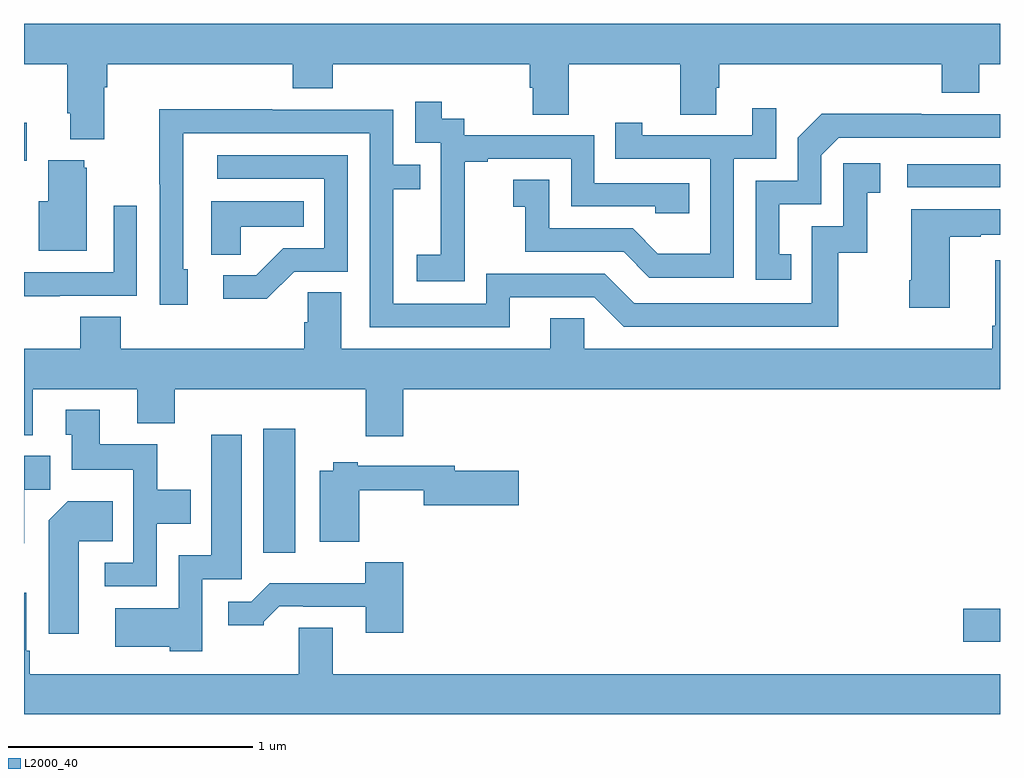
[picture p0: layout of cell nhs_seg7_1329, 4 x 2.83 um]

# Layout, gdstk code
import gdstk
lib = gdstk.Library(unit=1e-6, precision=1e-09)
def R(c, l, rs):  # rectangles x0, y0, x1, y1
    for r in rs: c.add(gdstk.rectangle(r[:2], r[2:], *l))
def P(c, l, *ps):  # polygons
    for p in ps: c.add(gdstk.Polygon(p, *l))
L2000_40 = (2000, 40)

nhs_seg7_1329 = lib.new_cell('nhs_seg7_1329')
R(nhs_seg7_1329, L2000_40, [(206.85,1020.893,207,1021.028), (203.981,1021.257,204.112,1021.765), (206.619,1022.754,207,1022.85), (203,1022.863,203.011,1023.019)])
P(nhs_seg7_1329, L2000_40, [(203.329,1023.164),(203.342,1023.164),(203.342,1023.26),(204.101,1023.26),(204.101,1023.161),(204.266,1023.161),(204.266,1023.26),(205.073,1023.26),(205.073,1023.162),(205.085,1023.162),(205.085,1023.052),(205.233,1023.052),(205.233,1023.26),(205.69,1023.26),(205.69,1023.052),(205.837,1023.052),(205.837,1023.162),(205.85,1023.162),(205.85,1023.26),(206.762,1023.26),(206.762,1023.143),(206.914,1023.143),(206.914,1023.26),(207,1023.26),(207,1023.424),(203,1023.424),(203,1023.26),(203.177,1023.26),(203.177,1023.058),(203.189,1023.058),(203.189,1022.951),(203.329,1022.951)],
  [(204.807,1022.575),(204.806,1022.575),(204.806,1022.859),(204.901,1022.859),(204.901,1022.871),(205.242,1022.871),(205.242,1022.676),(205.587,1022.676),(205.587,1022.649),(205.727,1022.649),(205.727,1022.772),(205.338,1022.772),(205.338,1022.967),(204.804,1022.967),(204.804,1023.036),(204.712,1023.036),(204.712,1023.106),(204.603,1023.106),(204.603,1022.937),(204.708,1022.937),(204.708,1022.708),(204.707,1022.708),(204.707,1022.479),(204.609,1022.479),(204.609,1022.369),(204.807,1022.369)],
  [(205.908,1022.871),(206.082,1022.871),(206.082,1023.079),(205.985,1023.079),(205.985,1022.967),(205.534,1022.967),(205.534,1023.019),(205.423,1023.019),(205.423,1022.871),(205.812,1022.871),(205.812,1022.482),(205.598,1022.482),(205.494,1022.586),(205.152,1022.586),(205.152,1022.785),(205.005,1022.785),(205.005,1022.675),(205.054,1022.675),(205.054,1022.49),(205.457,1022.49),(205.562,1022.385),(205.908,1022.385)],
  [(204.991,1022.304),(205.338,1022.304),(205.458,1022.184),(206.338,1022.184),(206.338,1022.487),(206.456,1022.487),(206.456,1022.733),(206.509,1022.733),(206.509,1022.854),(206.358,1022.854),(206.358,1022.595),(206.229,1022.595),(206.229,1022.28),(205.5,1022.28),(205.38,1022.4),(204.894,1022.4),(204.894,1022.277),(204.513,1022.277),(204.513,1022.746),(204.623,1022.746),(204.623,1022.847),(204.513,1022.847),(204.513,1023.072),(204.017,1023.072),(204.017,1023.074),(203.554,1023.074),(203.554,1022.767),(203.556,1022.767),(203.556,1022.274),(203.671,1022.274),(203.671,1022.418),(203.652,1022.418),(203.652,1022.976),(204.417,1022.976),(204.417,1022.181),(204.991,1022.181)],
  [(206.144,1022.481),(206.095,1022.481),(206.095,1022.685),(206.268,1022.685),(206.268,1022.886),(206.34,1022.958),(207,1022.958),(207,1023.054),(206.678,1023.054),(206.678,1023.056),(206.27,1023.056),(206.172,1022.958),(206.172,1022.781),(205.998,1022.781),(205.998,1022.376),(206.144,1022.376)],
  [(204.108,1022.409),(204.327,1022.409),(204.327,1022.886),(203.793,1022.886),(203.793,1022.79),(204.231,1022.79),(204.231,1022.505),(204.062,1022.505),(203.951,1022.394),(203.817,1022.394),(203.817,1022.297),(203.995,1022.297)],
  [(203.257,1022.835),(203.246,1022.835),(203.246,1022.866),(203.099,1022.866),(203.099,1022.698),(203.06,1022.698),(203.06,1022.495),(203.257,1022.495)],
  [(203.889,1022.594),(204.146,1022.594),(204.146,1022.698),(203.768,1022.698),(203.768,1022.479),(203.889,1022.479)],
  [(203.147,1022.31),(203.463,1022.31),(203.463,1022.68),(203.367,1022.68),(203.367,1022.406),(203,1022.406),(203,1022.309),(203.147,1022.309)],
  [(206.794,1022.551),(206.921,1022.551),(206.921,1022.561),(207,1022.561),(207,1022.665),(206.636,1022.665),(206.636,1022.374),(206.629,1022.374),(206.629,1022.262),(206.794,1022.262)],
  [(204.554,1021.928),(207,1021.928),(207,1022.455),(206.981,1022.455),(206.981,1022.188),(206.969,1022.188),(206.969,1022.092),(205.296,1022.092),(205.296,1022.219),(205.157,1022.219),(205.157,1022.092),(204.301,1022.092),(204.301,1022.324),(204.162,1022.324),(204.162,1022.201),(204.149,1022.201),(204.149,1022.092),(203.396,1022.092),(203.396,1022.225),(203.231,1022.225),(203.231,1022.092),(203,1022.092),(203,1021.739),(203.035,1021.739),(203.035,1021.928),(203.465,1021.928),(203.465,1021.787),(203.618,1021.787),(203.618,1021.928),(204.401,1021.928),(204.401,1021.734),(204.554,1021.734)],
  [(203.544,1021.376),(203.683,1021.376),(203.683,1021.516),(203.547,1021.516),(203.547,1021.702),(203.311,1021.702),(203.311,1021.843),(203.171,1021.843),(203.171,1021.74),(203.195,1021.74),(203.195,1021.598),(203.448,1021.598),(203.448,1021.215),(203.331,1021.215),(203.331,1021.119),(203.544,1021.119)],
  [(203.73,1021.149),(203.893,1021.149),(203.893,1021.741),(203.768,1021.741),(203.768,1021.246),(203.634,1021.246),(203.634,1021.03),(203.373,1021.03),(203.373,1020.872),(203.598,1020.872),(203.598,1020.854),(203.73,1020.854)],
  [(203.002,1021.516),(203.107,1021.516),(203.107,1021.654),(203,1021.654),(203,1021.295),(203.002,1021.295)],
  [(204.374,1021.513),(204.638,1021.513),(204.638,1021.451),(205.027,1021.451),(205.027,1021.593),(204.766,1021.593),(204.766,1021.614),(204.367,1021.614),(204.367,1021.627),(204.267,1021.627),(204.267,1021.594),(204.212,1021.594),(204.212,1021.301),(204.374,1021.301)],
  [(203.224,1021.304),(203.363,1021.304),(203.363,1021.468),(203.18,1021.468),(203.102,1021.39),(203.102,1020.924),(203.224,1020.924)],
  [(204.554,1021.219),(204.399,1021.219),(204.399,1021.132),(204.007,1021.132),(203.931,1021.056),(203.838,1021.056),(203.838,1020.959),(203.982,1020.959),(203.982,1020.974),(204.046,1021.038),(204.145,1021.038),(204.145,1021.035),(204.401,1021.035),(204.401,1020.93),(204.554,1020.93)],
  [(207,1020.76),(204.265,1020.76),(204.265,1020.95),(204.125,1020.95),(204.125,1020.76),(203.023,1020.76),(203.023,1020.856),(203.01,1020.856),(203.01,1021.093),(203,1021.093),(203,1020.596),(207,1020.596)])

lib.write_gds('nhs_seg7_1329.gds')
